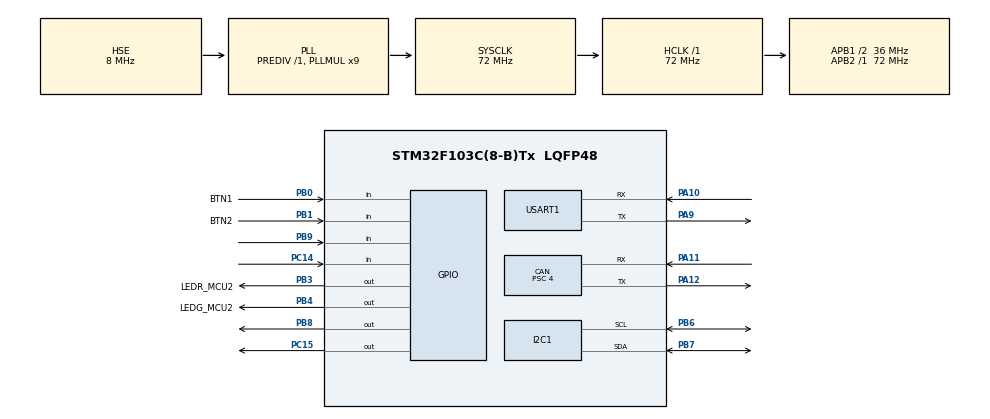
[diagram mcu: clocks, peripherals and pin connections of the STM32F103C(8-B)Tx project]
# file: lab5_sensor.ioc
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CAN.BS1=CAN_BS1_13TQ
CAN.BS2=CAN_BS2_4TQ
CAN.CalculateBaudRate=500000
CAN.CalculateTimeBit=2000
CAN.CalculateTimeQuantum=111.11111111111111
CAN.Prescaler=4
CAN.SJW=CAN_SJW_2TQ
Mcu.Family=STM32F1
Mcu.Name=STM32F103C(8-B)Tx
Mcu.Package=LQFP48
NVIC.I2C1_ER_IRQn=true\:0\:0\:false\:false\:true\:true\:true\:true
NVIC.I2C1_EV_IRQn=true\:0\:0\:false\:false\:true\:true\:true\:true
NVIC.PriorityGroup=NVIC_PRIORITYGROUP_4
NVIC.USB_LP_CAN1_RX0_IRQn=true\:0\:0\:false\:false\:true\:true\:true\:true
PA10.Mode=Asynchronous
PA10.Signal=USART1_RX
PA11.Mode=CAN_Activate
PA11.Signal=CAN_RX
PA12.Mode=CAN_Activate
PA12.Signal=CAN_TX
PA13.Mode=Serial_Wire
PA13.Signal=SYS_JTMS-SWDIO
PA14.Mode=Serial_Wire
PA14.Signal=SYS_JTCK-SWCLK
PA9.Mode=Asynchronous
PA9.Signal=USART1_TX
PB0.GPIO_Label=BTN1
PB0.GPIO_PuPd=GPIO_NOPULL
PB0.Signal=GPIO_Input
PB1.GPIO_Label=BTN2
PB1.GPIO_PuPd=GPIO_NOPULL
PB1.Signal=GPIO_Input
PB3.GPIO_Label=LEDR_MCU2
PB3.GPIO_Speed=GPIO_SPEED_FREQ_HIGH
PB3.Signal=GPIO_Output
PB4.GPIO_Label=LEDG_MCU2 
PB4.GPIO_Speed=GPIO_SPEED_FREQ_HIGH
PB4.Signal=GPIO_Output
PB6.Mode=I2C
PB6.Signal=I2C1_SCL
PB7.Mode=I2C
PB7.Signal=I2C1_SDA
PB8.Signal=GPIO_Output
PB9.Signal=GPIO_Input
PC14-OSC32_IN.Signal=GPIO_Input
PC15-OSC32_OUT.Signal=GPIO_Output
PD0-OSC_IN.Mode=HSE-External-Oscillator
PD0-OSC_IN.Signal=RCC_OSC_IN
PD1-OSC_OUT.Mode=HSE-External-Oscillator
PD1-OSC_OUT.Signal=RCC_OSC_OUT
ProjectManager.HeapSize=0x200
ProjectManager.StackSize=0x400
ProjectManager.TargetToolchain=STM32CubeIDE
RCC.AHBFreq_Value=72000000
RCC.APB1CLKDivider=RCC_HCLK_DIV2
RCC.APB1Freq_Value=36000000
RCC.APB1TimFreq_Value=72000000
RCC.APB2Freq_Value=72000000
RCC.APB2TimFreq_Value=72000000
RCC.HCLKFreq_Value=72000000
RCC.PLLMUL=RCC_PLL_MUL9
RCC.PLLSourceVirtual=RCC_PLLSOURCE_HSE
RCC.SYSCLKFreq_VALUE=72000000
RCC.SYSCLKSource=RCC_SYSCLKSOURCE_PLLCLK
RCC.USBFreq_Value=72000000
USART1.VirtualMode=VM_ASYNC
board=custom

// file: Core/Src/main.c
/* USER CODE BEGIN Header */
/**
  ******************************************************************************
  * @file           : main.c
  * @brief          : Main program body
  ******************************************************************************
  * @attention
  *
  * Copyright (c) 2023 STMicroelectronics.
  * All rights reserved.
  *
  * This software is licensed under terms that can be found in the LICENSE file
  * in the root directory of this software component.
  * If no LICENSE file comes with this software, it is provided AS-IS.
  *
  ******************************************************************************
  */
/* USER CODE END Header */
#include "main.h"
#include "vl53l0x_api.h"

CAN_HandleTypeDef hcan;

I2C_HandleTypeDef hi2c1;

UART_HandleTypeDef huart1;

/* USER CODE BEGIN PV */
uint8_t Message[64];
uint8_t MessageLen;
uint8_t LsensorValue = 0;
uint8_t RsensorValue = 0;
VL53L0X_Dev_t L_sensor;
VL53L0X_Dev_t R_sensor;
VL53L0X_RangingMeasurementData_t L_measurement;
VL53L0X_RangingMeasurementData_t R_measurement;
VL53L0X_DEV    Lsensor = &L_sensor;
VL53L0X_DEV    Rsensor = &R_sensor;

/* USER CODE END PV */

void SystemClock_Config(void);
static void MX_GPIO_Init(void);
static void MX_USART1_UART_Init(void);
static void MX_CAN_Init(void);
static void MX_I2C1_Init(void);
/* USER CODE BEGIN PFP */
void sendCanData(uint8_t LsensorValue, uint8_t RsensorValue);

/* USER CODE END PFP */

/* USER CODE BEGIN 0 */
CAN_TxHeaderTypeDef TxHeader;
CAN_RxHeaderTypeDef RxHeader;
uint8_t TxData[8];
uint8_t RxData[8];

/* USER CODE END 0 */

int main(void)
{
  /* USER CODE BEGIN 1 */
	  uint32_t refSpadCount;
	    uint8_t isApertureSpads;
	    uint8_t VhvSettings;
	    uint8_t PhaseCal;
  /* USER CODE END 1 */

  /* MCU Configuration--------------------------------------------------------*/

  /* Reset of all peripherals, Initializes the Flash interface and the Systick. */
  HAL_Init();

  /* Configure the system clock */
  SystemClock_Config();

  /* Initialize all configured peripherals */
  MX_GPIO_Init();
  MX_USART1_UART_Init();
  MX_CAN_Init();
  MX_I2C1_Init();
  /* USER CODE BEGIN 2 */

  Lsensor->I2cHandle = &hi2c1;
  Lsensor->I2cDevAddr = 0x30;
  Rsensor->I2cHandle = &hi2c1;
  Rsensor->I2cDevAddr = 0x31;

  HAL_GPIO_WritePin(GPIOC, GPIO_PIN_15, GPIO_PIN_SET);
  HAL_GPIO_WritePin(GPIOB, GPIO_PIN_8, GPIO_PIN_SET);
//------------------------------------------
  	  	VL53L0X_WaitDeviceBooted(Lsensor);
  	  	VL53L0X_DataInit(Lsensor);
  	  	VL53L0X_StaticInit(Lsensor);
  	  	VL53L0X_PerformRefCalibration(Lsensor, &VhvSettings, &PhaseCal);
   	   	VL53L0X_PerformRefSpadManagement(Lsensor, &refSpadCount, &isApertureSpads);
   	   	VL53L0X_SetDeviceMode(Lsensor, VL53L0X_DEVICEMODE_SINGLE_RANGING);

   // Enable/Disable Sigma and Signal check
    	VL53L0X_SetLimitCheckEnable(Lsensor, VL53L0X_CHECKENABLE_SIGMA_FINAL_RANGE, 1);
     	VL53L0X_SetLimitCheckEnable(Lsensor, VL53L0X_CHECKENABLE_SIGNAL_RATE_FINAL_RANGE, 1);
     	VL53L0X_SetLimitCheckValue(Lsensor, VL53L0X_CHECKENABLE_SIGNAL_RATE_FINAL_RANGE, (FixPoint1616_t)(0.1*65536));
     	VL53L0X_SetLimitCheckValue(Lsensor, VL53L0X_CHECKENABLE_SIGMA_FINAL_RANGE, (FixPoint1616_t)(60*65536));
     	VL53L0X_SetMeasurementTimingBudgetMicroSeconds(Lsensor, 33000);
     	VL53L0X_SetVcselPulsePeriod(Lsensor, VL53L0X_VCSEL_PERIOD_PRE_RANGE, 18);
     	VL53L0X_SetVcselPulsePeriod(Lsensor, VL53L0X_VCSEL_PERIOD_FINAL_RANGE, 14);

//-----------------------------------------------
     	VL53L0X_WaitDeviceBooted(Rsensor);
     	VL53L0X_DataInit(Rsensor);
     	VL53L0X_StaticInit(Rsensor);
     	VL53L0X_PerformRefCalibration(Rsensor, &VhvSettings, &PhaseCal);
     	VL53L0X_PerformRefSpadManagement(Rsensor, &refSpadCount, &isApertureSpads);
     	VL53L0X_SetDeviceMode(Rsensor, VL53L0X_DEVICEMODE_SINGLE_RANGING);

     // Enable/Disable Sigma and Signal check
     	VL53L0X_SetLimitCheckEnable(Rsensor, VL53L0X_CHECKENABLE_SIGMA_FINAL_RANGE, 1);
     	VL53L0X_SetLimitCheckEnable(Rsensor, VL53L0X_CHECKENABLE_SIGNAL_RATE_FINAL_RANGE, 1);
     	VL53L0X_SetLimitCheckValue(Rsensor, VL53L0X_CHECKENABLE_SIGNAL_RATE_FINAL_RANGE, (FixPoint1616_t)(0.1*65536));
     	VL53L0X_SetLimitCheckValue(Rsensor, VL53L0X_CHECKENABLE_SIGMA_FINAL_RANGE, (FixPoint1616_t)(60*65536));
     	VL53L0X_SetMeasurementTimingBudgetMicroSeconds(&R_sensor, 33000);
     	VL53L0X_SetVcselPulsePeriod(Rsensor, VL53L0X_VCSEL_PERIOD_PRE_RANGE, 18);
     	VL53L0X_SetVcselPulsePeriod(Rsensor, VL53L0X_VCSEL_PERIOD_FINAL_RANGE, 14);

  /* USER CODE END 2 */

  /* Infinite loop */
  while (1)
  {
	  VL53L0X_PerformSingleRangingMeasurement(Lsensor, &L_measurement);
		  VL53L0X_PerformSingleRangingMeasurement(Rsensor, &R_measurement);
		  MessageLen = sprintf((char*)Message, "Ldistance: %i\n\r", L_measurement.RangeMilliMeter);
		  MessageLen = sprintf((char*)Message, "Rdistance: %i\n\r", R_measurement.RangeMilliMeter);
		  HAL_UART_Transmit(&huart1, Message, MessageLen, 100);
		  LsensorValue = (uint8_t)L_measurement.RangeMilliMeter;
		  RsensorValue = (uint8_t)R_measurement.RangeMilliMeter;
		  sendCanData(LsensorValue, RsensorValue);
		  HAL_Delay(1000);
  }
}

void SystemClock_Config(void)
{
  RCC_OscInitTypeDef RCC_OscInitStruct = {0};
  RCC_ClkInitTypeDef RCC_ClkInitStruct = {0};

  /** Initializes the RCC Oscillators according to the specified parameters
  * in the RCC_OscInitTypeDef structure.
  */
  RCC_OscInitStruct.OscillatorType = RCC_OSCILLATORTYPE_HSE;
  RCC_OscInitStruct.HSEState = RCC_HSE_ON;
  RCC_OscInitStruct.HSEPredivValue = RCC_HSE_PREDIV_DIV1;
  RCC_OscInitStruct.HSIState = RCC_HSI_ON;
  RCC_OscInitStruct.PLL.PLLState = RCC_PLL_ON;
  RCC_OscInitStruct.PLL.PLLSource = RCC_PLLSOURCE_HSE;
  RCC_OscInitStruct.PLL.PLLMUL = RCC_PLL_MUL9;
  if (HAL_RCC_OscConfig(&RCC_OscInitStruct) != HAL_OK)
  {
    Error_Handler();
  }

  /** Initializes the CPU, AHB and APB buses clocks
  */
  RCC_ClkInitStruct.ClockType = RCC_CLOCKTYPE_HCLK|RCC_CLOCKTYPE_SYSCLK
                              |RCC_CLOCKTYPE_PCLK1|RCC_CLOCKTYPE_PCLK2;
  RCC_ClkInitStruct.SYSCLKSource = RCC_SYSCLKSOURCE_PLLCLK;
  RCC_ClkInitStruct.AHBCLKDivider = RCC_SYSCLK_DIV1;
  RCC_ClkInitStruct.APB1CLKDivider = RCC_HCLK_DIV2;
  RCC_ClkInitStruct.APB2CLKDivider = RCC_HCLK_DIV1;

  if (HAL_RCC_ClockConfig(&RCC_ClkInitStruct, FLASH_LATENCY_2) != HAL_OK)
  {
    Error_Handler();
  }
}

static void MX_CAN_Init(void)
{

  hcan.Instance = CAN1;
  hcan.Init.Prescaler = 4;
  hcan.Init.Mode = CAN_MODE_NORMAL;
  hcan.Init.SyncJumpWidth = CAN_SJW_2TQ;
  hcan.Init.TimeSeg1 = CAN_BS1_13TQ;
  hcan.Init.TimeSeg2 = CAN_BS2_4TQ;
  hcan.Init.TimeTriggeredMode = DISABLE;
  hcan.Init.AutoBusOff = DISABLE;
  hcan.Init.AutoWakeUp = DISABLE;
  hcan.Init.AutoRetransmission = DISABLE;
  hcan.Init.ReceiveFifoLocked = DISABLE;
  hcan.Init.TransmitFifoPriority = DISABLE;
  if (HAL_CAN_Init(&hcan) != HAL_OK)
  {
    Error_Handler();
  }
  /* USER CODE BEGIN CAN_Init 2 */
  CAN_FilterTypeDef canfilterconfig;

    canfilterconfig.FilterActivation = CAN_FILTER_ENABLE;
    canfilterconfig.FilterBank = 12;  // which filter bank to use from the assigned ones
    canfilterconfig.FilterFIFOAssignment = CAN_FILTER_FIFO1;
    canfilterconfig.FilterIdHigh = 0x0a2<<5;
    canfilterconfig.FilterIdLow = 0;
    canfilterconfig.FilterMaskIdHigh = 0x0a2<<5;
    canfilterconfig.FilterMaskIdLow = 0x0000;
    canfilterconfig.FilterMode = CAN_FILTERMODE_IDMASK;
    canfilterconfig.FilterScale = CAN_FILTERSCALE_32BIT;
    canfilterconfig.SlaveStartFilterBank = 13;  // how many filters to assign to the CAN1 (master can)
    HAL_CAN_ConfigFilter(&hcan, &canfilterconfig);
  /* USER CODE END CAN_Init 2 */

}

static void MX_I2C1_Init(void)
{

  hi2c1.Instance = I2C1;
  hi2c1.Init.ClockSpeed = 100000;
  hi2c1.Init.DutyCycle = I2C_DUTYCYCLE_2;
  hi2c1.Init.OwnAddress1 = 0;
  hi2c1.Init.AddressingMode = I2C_ADDRESSINGMODE_7BIT;
  hi2c1.Init.DualAddressMode = I2C_DUALADDRESS_DISABLE;
  hi2c1.Init.OwnAddress2 = 0;
  hi2c1.Init.GeneralCallMode = I2C_GENERALCALL_DISABLE;
  hi2c1.Init.NoStretchMode = I2C_NOSTRETCH_DISABLE;
  if (HAL_I2C_Init(&hi2c1) != HAL_OK)
  {
    Error_Handler();
  }

}

static void MX_USART1_UART_Init(void)
{

  huart1.Instance = USART1;
  huart1.Init.BaudRate = 115200;
  huart1.Init.WordLength = UART_WORDLENGTH_8B;
  huart1.Init.StopBits = UART_STOPBITS_1;
  huart1.Init.Parity = UART_PARITY_NONE;
  huart1.Init.Mode = UART_MODE_TX_RX;
  huart1.Init.HwFlowCtl = UART_HWCONTROL_NONE;
  huart1.Init.OverSampling = UART_OVERSAMPLING_16;
  if (HAL_UART_Init(&huart1) != HAL_OK)
  {
    Error_Handler();
  }

}

static void MX_GPIO_Init(void)
{
  GPIO_InitTypeDef GPIO_InitStruct = {0};

  /* GPIO Ports Clock Enable */
  __HAL_RCC_GPIOC_CLK_ENABLE();
  __HAL_RCC_GPIOD_CLK_ENABLE();
  __HAL_RCC_GPIOB_CLK_ENABLE();
  __HAL_RCC_GPIOA_CLK_ENABLE();

  /*Configure GPIO pin Output Level */
  HAL_GPIO_WritePin(GPIOC, GPIO_PIN_15, GPIO_PIN_RESET);

  /*Configure GPIO pin Output Level */
  HAL_GPIO_WritePin(GPIOB, LEDR_MCU2_Pin|LEDG_MCU2_Pin|GPIO_PIN_8, GPIO_PIN_RESET);

  /*Configure GPIO pin : PC14 */
  GPIO_InitStruct.Pin = GPIO_PIN_14;
  GPIO_InitStruct.Mode = GPIO_MODE_INPUT;
  GPIO_InitStruct.Pull = GPIO_NOPULL;
  HAL_GPIO_Init(GPIOC, &GPIO_InitStruct);

  /*Configure GPIO pin : PC15 */
  GPIO_InitStruct.Pin = GPIO_PIN_15;
  GPIO_InitStruct.Mode = GPIO_MODE_OUTPUT_PP;
  GPIO_InitStruct.Pull = GPIO_NOPULL;
  GPIO_InitStruct.Speed = GPIO_SPEED_FREQ_LOW;
  HAL_GPIO_Init(GPIOC, &GPIO_InitStruct);

  /*Configure GPIO pins : BTN1_Pin BTN2_Pin PB9 */
  GPIO_InitStruct.Pin = BTN1_Pin|BTN2_Pin|GPIO_PIN_9;
  GPIO_InitStruct.Mode = GPIO_MODE_INPUT;
  GPIO_InitStruct.Pull = GPIO_NOPULL;
  HAL_GPIO_Init(GPIOB, &GPIO_InitStruct);

  /*Configure GPIO pins : LEDR_MCU2_Pin LEDG_MCU2_Pin */
  GPIO_InitStruct.Pin = LEDR_MCU2_Pin|LEDG_MCU2_Pin;
  GPIO_InitStruct.Mode = GPIO_MODE_OUTPUT_PP;
  GPIO_InitStruct.Pull = GPIO_NOPULL;
  GPIO_InitStruct.Speed = GPIO_SPEED_FREQ_HIGH;
  HAL_GPIO_Init(GPIOB, &GPIO_InitStruct);

  /*Configure GPIO pin : PB8 */
  GPIO_InitStruct.Pin = GPIO_PIN_8;
  GPIO_InitStruct.Mode = GPIO_MODE_OUTPUT_PP;
  GPIO_InitStruct.Pull = GPIO_NOPULL;
  GPIO_InitStruct.Speed = GPIO_SPEED_FREQ_LOW;
  HAL_GPIO_Init(GPIOB, &GPIO_InitStruct);

}

/* USER CODE BEGIN 4 */
void sendCanData(uint8_t LsensorValue, uint8_t RsensorValue)
{
    CAN_TxHeaderTypeDef txHeader;
    uint8_t sendData[8] = {0,0,0,0,0,0,0,0};

    if (LsensorValue < 100)
    {
        sendData[0] = 1;
    }
    else if (LsensorValue > 100){
    	sendData[0] = 0;
    	sendData[1] = 1;
    }

    else if (RsensorValue < 50)
    {

        sendData[2] = 1;
    }
    else if (RsensorValue > 100)
       {
           sendData[2] = 0;
           sendData[3] = 1;
       }
    txHeader.StdId = 0x012;
    txHeader.IDE = CAN_ID_STD;
    txHeader.RTR = CAN_RTR_DATA;
    txHeader.DLC = 8;
    HAL_CAN_AddTxMessage(&hcan, &txHeader, sendData, NULL);
}
/* USER CODE END 4 */

void Error_Handler(void)
{
  __disable_irq();
}
